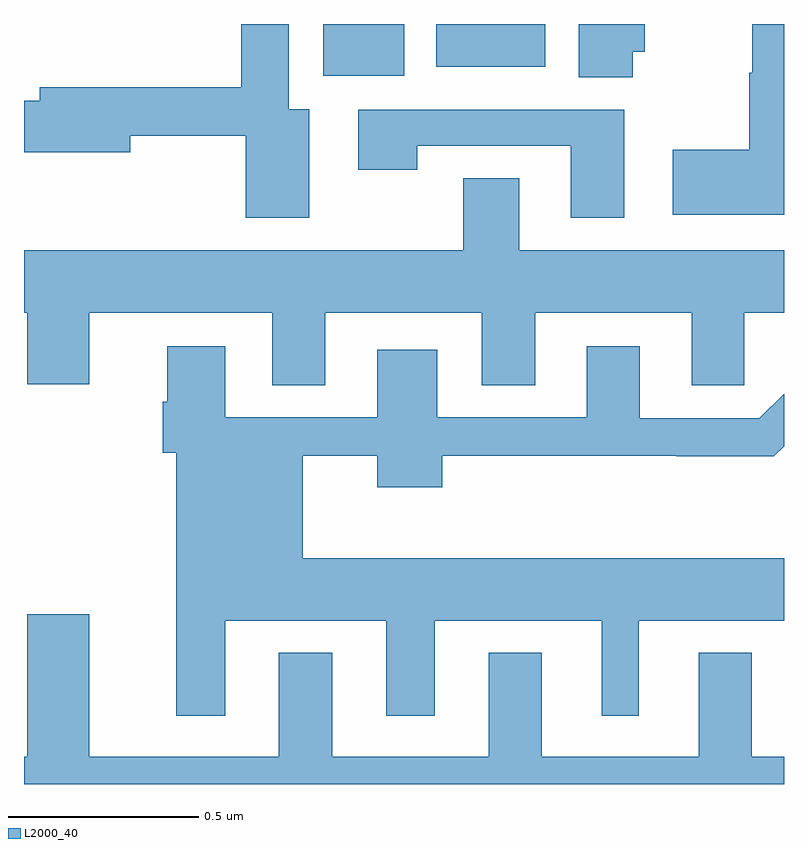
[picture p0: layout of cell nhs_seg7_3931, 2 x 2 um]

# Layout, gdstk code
import gdstk
lib = gdstk.Library(unit=1e-6, precision=1e-09)
def R(c, l, rs):  # rectangles x0, y0, x1, y1
    for r in rs: c.add(gdstk.rectangle(r[:2], r[2:], *l))
def P(c, l, *ps):  # polygons
    for p in ps: c.add(gdstk.Polygon(p, *l))
L2000_40 = (2000, 40)

nhs_seg7_3931 = lib.new_cell('nhs_seg7_3931')
R(nhs_seg7_3931, L2000_40, [(165.788,1043.864,166,1044), (166.085,1043.888,166.372,1044)])
P(nhs_seg7_3931, L2000_40, [(166.602,1043.927),(166.633,1043.927),(166.633,1044),(166.46,1044),(166.46,1043.86),(166.602,1043.86)],
  [(167,1044),(166.916,1044),(166.916,1043.872),(166.909,1043.872),(166.909,1043.669),(166.707,1043.669),(166.707,1043.498),(167,1043.498)],
  [(165.751,1043.776),(165.697,1043.776),(165.697,1044),(165.572,1044),(165.572,1043.834),(165.041,1043.834),(165.041,1043.798),(165,1043.798),(165,1043.663),(165.28,1043.663),(165.28,1043.706),(165.584,1043.706),(165.584,1043.49),(165.751,1043.49)],
  [(166.579,1043.775),(165.879,1043.775),(165.879,1043.616),(166.035,1043.616),(166.035,1043.679),(166.439,1043.679),(166.439,1043.49),(166.579,1043.49)],
  [(165.793,1043.24),(166.205,1043.24),(166.205,1043.05),(166.345,1043.05),(166.345,1043.24),(166.757,1043.24),(166.757,1043.05),(166.896,1043.05),(166.896,1043.24),(167,1043.24),(167,1043.404),(166.303,1043.404),(166.303,1043.594),(166.156,1043.594),(166.156,1043.404),(165,1043.404),(165,1043.24),(165.008,1043.24),(165.008,1043.052),(165.172,1043.052),(165.172,1043.24),(165.653,1043.24),(165.653,1043.05),(165.793,1043.05)],
  [(165.529,1042.43),(165.953,1042.43),(165.953,1042.179),(166.081,1042.179),(166.081,1042.43),(166.52,1042.43),(166.52,1042.179),(166.618,1042.179),(166.618,1042.43),(167,1042.43),(167,1042.594),(165.733,1042.594),(165.733,1042.864),(165.929,1042.864),(165.929,1042.781),(166.1,1042.781),(166.1,1042.864),(166.717,1042.864),(166.717,1042.862),(166.973,1042.862),(167,1042.889),(167,1043.027),(166.935,1042.962),(166.621,1042.962),(166.621,1043.152),(166.481,1043.152),(166.481,1042.965),(166.087,1042.965),(166.087,1043.143),(165.929,1043.143),(165.929,1042.965),(165.529,1042.965),(165.529,1043.152),(165.377,1043.152),(165.377,1043.006),(165.365,1043.006),(165.365,1042.872),(165.401,1042.872),(165.401,1042.179),(165.529,1042.179)],
  [(167,1042.072),(166.915,1042.072),(166.915,1042.345),(166.775,1042.345),(166.775,1042.072),(166.363,1042.072),(166.363,1042.345),(166.223,1042.345),(166.223,1042.072),(165.811,1042.072),(165.811,1042.345),(165.671,1042.345),(165.671,1042.072),(165.172,1042.072),(165.172,1042.447),(165.008,1042.447),(165.008,1042.072),(165,1042.072),(165,1042),(167,1042)])

lib.write_gds('nhs_seg7_3931.gds')
